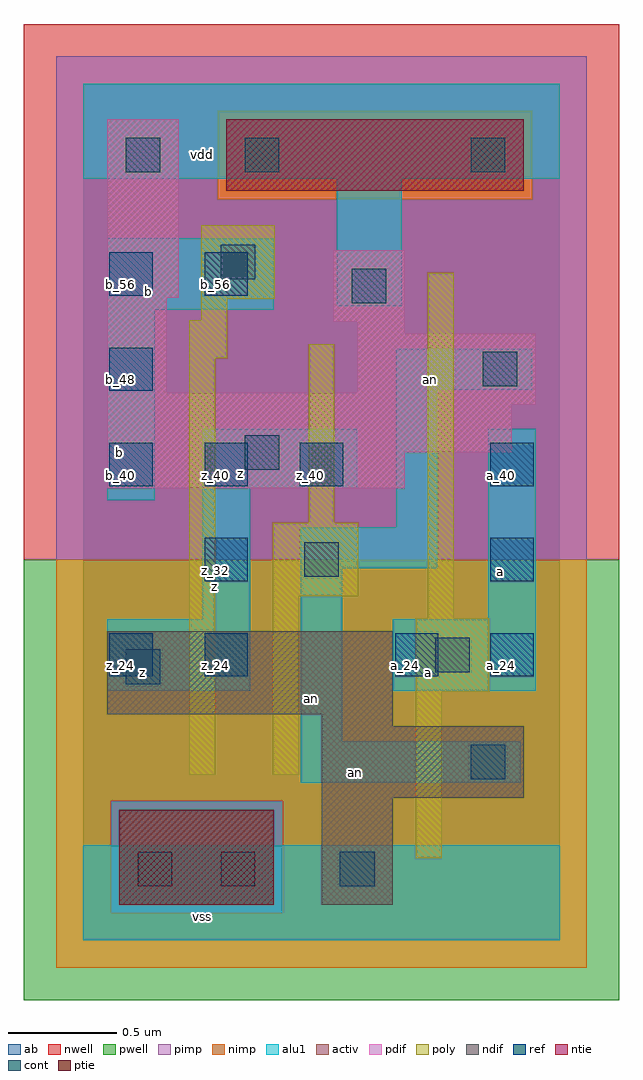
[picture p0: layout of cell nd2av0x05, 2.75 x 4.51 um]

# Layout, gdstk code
import gdstk
lib = gdstk.Library(unit=1e-6, precision=2.5e-09)
def R(c, l, rs):  # rectangles x0, y0, x1, y1
    for r in rs: c.add(gdstk.rectangle(r[:2], r[2:], *l))
def A(c, l, x, y, w, h, nx, ny, dx, dy):  # array of equal rectangles
    R(c, l, [(x+i*dx, y+j*dy, x+i*dx+w, y+j*dy+h) for i in range(nx) for j in range(ny)])
ndif = (3, 0)
pdif = (4, 0)
ntie = (5, 0)
ptie = (6, 0)
ref = (24, 0)
cont = (25, 0)
pwell = (41, 0)
nwell = (42, 0)
activ = (43, 0)
pimp = (44, 0)
nimp = (45, 0)
poly = (46, 0)
alu1 = (49, 0)
ab = (63, 0)

nd2av0x05 = lib.new_cell('nd2av0x05')
R(nd2av0x05, ndif, [(1.1,0.165,1.43,0.66), (1.1,0.66,2.035,0.99), (1.1,0.99,1.43,1.045), (0.11,1.045,1.43,1.43)])
R(nd2av0x05, pdif, [(0.11,2.09,1.485,2.255), (0.11,2.255,1.98,2.475), (0.11,2.475,2.09,2.53), (0.11,2.53,0.385,2.97), (1.265,2.53,2.09,2.805), (1.265,2.805,1.485,2.86), (1.155,2.86,1.485,3.19), (0.11,2.97,0.44,3.795)])
R(nd2av0x05, ntie, [(0.66,3.465,2.035,3.795)])
R(nd2av0x05, ptie, [(0.165,0.165,0.88,0.605)])
A(nd2av0x05, ref, 1.88, 1.22, 0.2, 0.2, 1, 3, 0, 0.44)
A(nd2av0x05, ref, 0.12, 2.1, 0.2, 0.2, 3, 1, 0.44, 0)
R(nd2av0x05, ref, [(0.12,1.22,0.32,1.42), (0.56,1.22,0.76,1.42), (1.44,1.22,1.64,1.42), (0.56,1.66,0.76,1.86), (0.12,2.54,0.32,2.74), (0.12,2.98,0.32,3.18), (0.56,2.98,0.76,3.18)])
R(nd2av0x05, cont, [(0.25,0.25,0.41,0.41), (0.635,0.25,0.795,0.41), (1.185,0.25,1.345,0.41), (1.79,0.745,1.95,0.905), (0.195,1.185,0.355,1.345), (1.625,1.24,1.785,1.4), (1.02,1.68,1.18,1.84), (0.745,2.175,0.905,2.335), (1.845,2.56,2.005,2.72), (1.24,2.945,1.4,3.105), (0.635,3.055,0.795,3.215), (0.195,3.55,0.355,3.71), (0.745,3.55,0.905,3.71), (1.79,3.55,1.95,3.71)])
R(nd2av0x05, pwell, [(-0.275,-0.275,2.475,1.76)])
R(nd2av0x05, nwell, [(-0.275,1.76,2.475,4.235)])
R(nd2av0x05, activ, [(0.165,0.165,0.88,0.605), (1.1,0.165,1.43,0.66), (1.1,0.66,2.035,0.99), (1.1,0.99,1.43,1.045), (0.11,1.045,1.43,1.43), (0.11,2.09,1.485,2.255), (0.11,2.255,1.98,2.475), (0.11,2.475,2.09,2.53), (0.11,2.53,0.385,2.97), (1.265,2.53,2.09,2.805), (1.265,2.805,1.485,2.86), (1.155,2.86,1.485,3.19), (0.11,2.97,0.44,3.795), (0.66,3.465,2.035,3.795)])
R(nd2av0x05, pimp, [(0.125,0.125,0.92,0.645), (-0.125,1.76,2.325,3.425), (-0.125,3.425,0.62,3.835), (2.075,3.425,2.325,3.835), (-0.125,3.835,2.325,4.085)])
R(nd2av0x05, nimp, [(-0.125,-0.125,2.325,0.125), (-0.125,0.125,0.125,0.645), (0.92,0.125,2.325,0.645), (-0.125,0.645,2.325,1.76), (0.62,3.425,2.075,3.835)])
R(nd2av0x05, poly, [(1.535,0.38,1.655,1.15), (0.49,0.765,0.61,2.69), (0.875,0.765,0.995,1.59), (1.535,1.15,1.875,1.49), (1.59,1.49,1.71,3.085), (0.875,1.59,1.27,1.93), (1.04,1.93,1.16,2.755), (0.49,2.69,0.665,2.865), (0.545,2.865,0.665,2.965), (0.545,2.965,0.885,3.305)])
R(nd2av0x05, alu1, [(0,0,2.2,0.44), (1.005,0.73,2.02,0.92), (1.005,0.92,1.195,1.72), (0.11,1.155,0.77,1.485), (1.43,1.155,2.09,1.485), (0.55,1.485,0.77,2.09), (1.87,1.485,2.09,2.365), (1.005,1.72,1.635,1.91), (1.445,1.91,1.635,2.545), (0.11,2.035,0.33,2.915), (0.55,2.09,1.265,2.365), (1.445,2.545,2.075,2.735), (0.11,2.915,0.88,3.245), (1.17,2.93,1.47,3.52), (0,3.52,2.2,3.96)])
R(nd2av0x05, ab, [(0,0,2.2,3.96)])
nd2av0x05.add(gdstk.Label('vss', (0.55,0.11), layer=49, texttype=0))
nd2av0x05.add(gdstk.Label('an', (1.2575,0.7775), layer=49, texttype=0))
nd2av0x05.add(gdstk.Label('a', (1.595,1.2375), layer=49, texttype=0))
nd2av0x05.add(gdstk.Label('a', (1.925,1.705), layer=49, texttype=0))
nd2av0x05.add(gdstk.Label('an', (1.0525,1.12), layer=49, texttype=0))
nd2av0x05.add(gdstk.Label('z', (0.275,1.2375), layer=49, texttype=0))
nd2av0x05.add(gdstk.Label('z', (0.605,1.635), layer=49, texttype=0))
nd2av0x05.add(gdstk.Label('z', (0.7275,2.1575), layer=49, texttype=0))
nd2av0x05.add(gdstk.Label('an', (1.6025,2.5925), layer=49, texttype=0))
nd2av0x05.add(gdstk.Label('b', (0.165,2.255), layer=49, texttype=0))
nd2av0x05.add(gdstk.Label('b', (0.3025,2.9975), layer=49, texttype=0))
nd2av0x05.add(gdstk.Label('vdd', (0.55,3.63), layer=49, texttype=0))
nd2av0x05.add(gdstk.Label('z_24', (0.61,1.27), layer=24, texttype=0))
nd2av0x05.add(gdstk.Label('z_32', (0.61,1.71), layer=24, texttype=0))
nd2av0x05.add(gdstk.Label('z_40', (0.61,2.15), layer=24, texttype=0))
nd2av0x05.add(gdstk.Label('b_56', (0.61,3.03), layer=24, texttype=0))
nd2av0x05.add(gdstk.Label('z_40', (1.05,2.15), layer=24, texttype=0))
nd2av0x05.add(gdstk.Label('a_24', (1.49,1.27), layer=24, texttype=0))
nd2av0x05.add(gdstk.Label('a_24', (1.93,1.27), layer=24, texttype=0))
nd2av0x05.add(gdstk.Label('a_32', (1.93,1.71), layer=24, texttype=0))
nd2av0x05.add(gdstk.Label('a_40', (1.93,2.15), layer=24, texttype=0))
nd2av0x05.add(gdstk.Label('z_24', (0.17,1.27), layer=24, texttype=0))
nd2av0x05.add(gdstk.Label('b_40', (0.17,2.15), layer=24, texttype=0))
nd2av0x05.add(gdstk.Label('b_48', (0.17,2.59), layer=24, texttype=0))
nd2av0x05.add(gdstk.Label('b_56', (0.17,3.03), layer=24, texttype=0))

lib.write_gds('nd2av0x05.gds')
